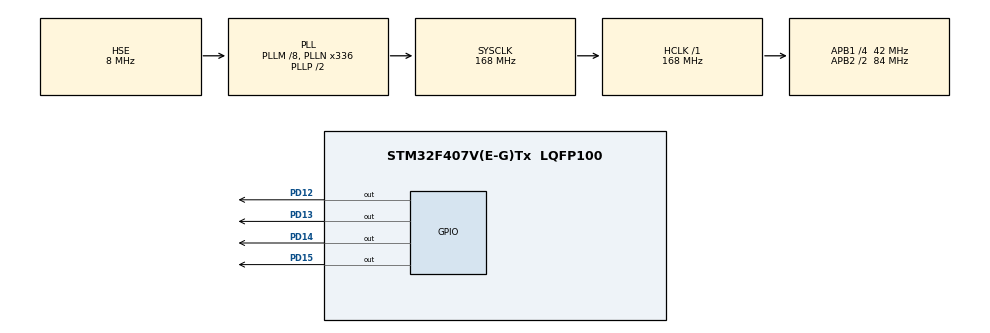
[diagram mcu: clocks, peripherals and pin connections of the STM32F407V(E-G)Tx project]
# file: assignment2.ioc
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FREERTOS.INCLUDE_vTaskDelayUntil=1
FREERTOS.Tasks01=defaultTask,-3,128,StartDefaultTask,Default,NULL,Dynamic,NULL,NULL
FREERTOS.configUSE_NEWLIB_REENTRANT=1
Mcu.Family=STM32F4
Mcu.Name=STM32F407V(E-G)Tx
Mcu.Package=LQFP100
NVIC.PriorityGroup=NVIC_PRIORITYGROUP_4
NVIC.TIM1_UP_TIM10_IRQn=true\:0\:0\:false\:false\:true\:false\:false\:true\:true
NVIC.TimeBase=TIM1_UP_TIM10_IRQn
NVIC.TimeBaseIP=TIM1
PD12.Signal=GPIO_Output
PD13.Signal=GPIO_Output
PD14.Signal=GPIO_Output
PD15.Signal=GPIO_Output
ProjectManager.HeapSize=0x200
ProjectManager.StackSize=0x400
ProjectManager.TargetToolchain=STM32CubeIDE
RCC.48MHZClocksFreq_Value=48000000
RCC.AHBFreq_Value=168000000
RCC.APB1CLKDivider=RCC_HCLK_DIV4
RCC.APB1Freq_Value=42000000
RCC.APB1TimFreq_Value=84000000
RCC.APB2CLKDivider=RCC_HCLK_DIV2
RCC.APB2Freq_Value=84000000
RCC.APB2TimFreq_Value=168000000
RCC.CortexFreq_Value=168000000
RCC.HCLKFreq_Value=168000000
RCC.HSE_VALUE=8000000
RCC.HSI_VALUE=16000000
RCC.PLLM=8
RCC.PLLN=336
RCC.PLLQ=7
RCC.PLLSourceVirtual=RCC_PLLSOURCE_HSE
RCC.SYSCLKFreq_VALUE=168000000
RCC.SYSCLKSource=RCC_SYSCLKSOURCE_PLLCLK
RCC.VCOOutputFreq_Value=336000000
VP_FREERTOS_VS_CMSIS_V1.Mode=CMSIS_V1
VP_SYS_VS_tim1.Mode=TIM1
board=STM32F407G-DISC1

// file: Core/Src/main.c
/* USER CODE BEGIN Header */
/**
  ******************************************************************************
  * @file           : main.c
  * @brief          : Main program body
  ******************************************************************************
  * @attention
  *
  * Copyright (c) 2024 STMicroelectronics.
  * All rights reserved.
  *
  * This software is licensed under terms that can be found in the LICENSE file
  * in the root directory of this software component.
  * If no LICENSE file comes with this software, it is provided AS-IS.
  *
  ******************************************************************************
  */
/* USER CODE END Header */
#include "main.h"
#include "cmsis_os.h"

/* USER CODE BEGIN PTD */
typedef struct arugument
{
uint16_t a;
int rate;

}arg;
/* USER CODE END PTD */

osThreadId defaultTaskHandle;

void SystemClock_Config(void);
static void MX_GPIO_Init(void);
void StartDefaultTask(void const * argument);

/* USER CODE BEGIN 0 */
void vAperodic(void *pvparam)
{
	arg*pin=(arg*)pvparam;
	while(1)
	{
		HAL_GPIO_TogglePin(GPIOD, pin->a);
		vTaskDelay(1000/portTICK_RATE_MS);

	}
	vTaskDelete(NULL);
}

/* USER CODE END 0 */

int main(void)
{

  /* USER CODE BEGIN 1 */
	BaseType_t ret;
	 arg a1;
	 arg b1;
	 arg c1;
	 arg d1;

  /* USER CODE END 1 */

  /* MCU Configuration--------------------------------------------------------*/

  /* Reset of all peripherals, Initializes the Flash interface and the Systick. */
  HAL_Init();

  /* Configure the system clock */
  SystemClock_Config();

  /* Initialize all configured peripherals */
  MX_GPIO_Init();
  //arg *a1,*b1,*c1,*d1;

  	    a1.a=GPIO_PIN_12;
  	    a1.rate=1000;
  	    b1.a=GPIO_PIN_13;
  	    b1.rate=1000;
  	    c1.a=GPIO_PIN_14;
  	    c1.rate=2000;
  	    d1.a=GPIO_PIN_15;
  	    d1.rate=1500;
  /* USER CODE BEGIN 2 */
ret = xTaskCreate(vAperodic, "APeriodic", configMINIMAL_STACK_SIZE,(void*) &a1, 2, NULL);
    if(ret != pdTRUE)
  	  Error_Handler();
ret = xTaskCreate(vAperodic, "APeriodic", configMINIMAL_STACK_SIZE,(void*) &b1, 3, NULL);
        if(ret != pdTRUE)
      	  Error_Handler();
ret = xTaskCreate(vAperodic, "APeriodic", configMINIMAL_STACK_SIZE,(void*) &c1, 4, NULL);
            if(ret != pdTRUE)
          	  Error_Handler();
 ret = xTaskCreate(vAperodic, "APeriodic", configMINIMAL_STACK_SIZE,(void*) &d1, 1, NULL);
                if(ret != pdTRUE)
              	  Error_Handler();

  /* USER CODE END 2 */

  /* Create the thread(s) */
  /* definition and creation of defaultTask */
  osThreadDef(defaultTask, StartDefaultTask, osPriorityIdle, 0, 128);
  defaultTaskHandle = osThreadCreate(osThread(defaultTask), NULL);

  /* Start scheduler */
  osKernelStart();

  /* We should never get here as control is now taken by the scheduler */

  /* Infinite loop */
  while (1)
  {

  }
}

void SystemClock_Config(void)
{
  RCC_OscInitTypeDef RCC_OscInitStruct = {0};
  RCC_ClkInitTypeDef RCC_ClkInitStruct = {0};

  /** Configure the main internal regulator output voltage
  */
  __HAL_RCC_PWR_CLK_ENABLE();
  __HAL_PWR_VOLTAGESCALING_CONFIG(PWR_REGULATOR_VOLTAGE_SCALE1);

  /** Initializes the RCC Oscillators according to the specified parameters
  * in the RCC_OscInitTypeDef structure.
  */
  RCC_OscInitStruct.OscillatorType = RCC_OSCILLATORTYPE_HSE;
  RCC_OscInitStruct.HSEState = RCC_HSE_OFF;
  RCC_OscInitStruct.PLL.PLLState = RCC_PLL_ON;
  RCC_OscInitStruct.PLL.PLLSource = RCC_PLLSOURCE_HSE;
  RCC_OscInitStruct.PLL.PLLM = 8;
  RCC_OscInitStruct.PLL.PLLN = 336;
  RCC_OscInitStruct.PLL.PLLP = RCC_PLLP_DIV2;
  RCC_OscInitStruct.PLL.PLLQ = 7;
  if (HAL_RCC_OscConfig(&RCC_OscInitStruct) != HAL_OK)
  {
    Error_Handler();
  }

  /** Initializes the CPU, AHB and APB buses clocks
  */
  RCC_ClkInitStruct.ClockType = RCC_CLOCKTYPE_HCLK|RCC_CLOCKTYPE_SYSCLK
                              |RCC_CLOCKTYPE_PCLK1|RCC_CLOCKTYPE_PCLK2;
  RCC_ClkInitStruct.SYSCLKSource = RCC_SYSCLKSOURCE_PLLCLK;
  RCC_ClkInitStruct.AHBCLKDivider = RCC_SYSCLK_DIV1;
  RCC_ClkInitStruct.APB1CLKDivider = RCC_HCLK_DIV4;
  RCC_ClkInitStruct.APB2CLKDivider = RCC_HCLK_DIV2;

  if (HAL_RCC_ClockConfig(&RCC_ClkInitStruct, FLASH_LATENCY_5) != HAL_OK)
  {
    Error_Handler();
  }
}

static void MX_GPIO_Init(void)
{
  GPIO_InitTypeDef GPIO_InitStruct = {0};

  /* GPIO Ports Clock Enable */
  __HAL_RCC_GPIOD_CLK_ENABLE();

  /*Configure GPIO pin Output Level */
  HAL_GPIO_WritePin(GPIOD, GPIO_PIN_12|GPIO_PIN_13|GPIO_PIN_14|GPIO_PIN_15, GPIO_PIN_RESET);

  /*Configure GPIO pins : PD12 PD13 PD14 PD15 */
  GPIO_InitStruct.Pin = GPIO_PIN_12|GPIO_PIN_13|GPIO_PIN_14|GPIO_PIN_15;
  GPIO_InitStruct.Mode = GPIO_MODE_OUTPUT_PP;
  GPIO_InitStruct.Pull = GPIO_NOPULL;
  GPIO_InitStruct.Speed = GPIO_SPEED_FREQ_LOW;
  HAL_GPIO_Init(GPIOD, &GPIO_InitStruct);

}

void StartDefaultTask(void const * argument)
{
  for(;;)
  {
    osDelay(1);
  }
}

void HAL_TIM_PeriodElapsedCallback(TIM_HandleTypeDef *htim)
{
  if (htim->Instance == TIM1) {
    HAL_IncTick();
  }
}

void Error_Handler(void)
{
  __disable_irq();
  while (1)
  {
  }
}
